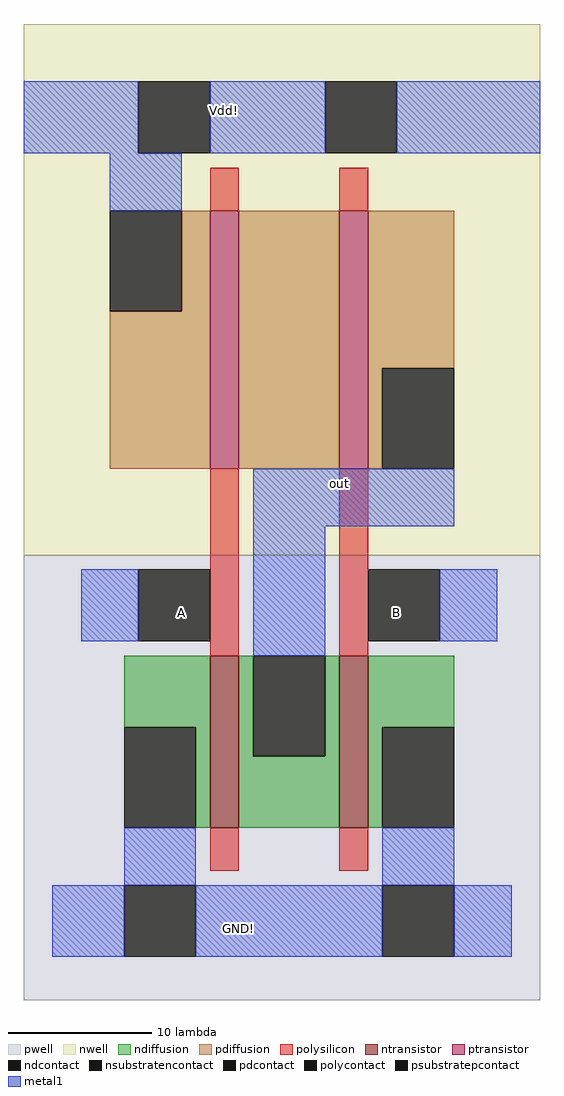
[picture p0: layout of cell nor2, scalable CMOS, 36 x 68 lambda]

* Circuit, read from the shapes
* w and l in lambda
.subckt nor2 A B GND! Vdd! out
M1 out A GND! GND! nfet w=12 l=2
M2 GND! B out GND! nfet w=12 l=2
M3 n1 A Vdd! Vdd! pfet w=18 l=2
M4 out B n1 Vdd! pfet w=18 l=2
.ends

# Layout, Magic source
magic
tech scmos
<< nwell >>
rect -4 29 32 66
<< pwell >>
rect -4 -2 32 29
<< ntransistor >>
rect 9 10 11 22
rect 18 10 20 22
<< ptransistor >>
rect 9 35 11 53
rect 18 35 20 53
<< ndiffusion >>
rect 3 17 9 22
rect 8 10 9 17
rect 11 15 12 22
rect 17 15 18 22
rect 11 10 18 15
rect 20 17 26 22
rect 20 10 21 17
<< pdiffusion >>
rect 7 46 9 53
rect 2 35 9 46
rect 11 35 18 53
rect 20 42 26 53
rect 20 35 21 42
<< ndcontact >>
rect 3 10 8 17
rect 12 15 17 22
rect 21 10 26 17
<< pdcontact >>
rect 2 46 7 53
rect 21 35 26 42
<< psubstratepcontact >>
rect 3 1 8 6
rect 21 1 26 6
<< nsubstratencontact >>
rect 4 57 9 62
rect 17 57 22 62
<< polysilicon >>
rect 9 53 11 56
rect 18 53 20 56
rect 9 22 11 35
rect 18 22 20 35
rect 9 7 11 10
rect 18 7 20 10
<< polycontact >>
rect 4 23 9 28
rect 20 23 25 28
<< metal1 >>
rect -4 57 4 62
rect 9 57 17 62
rect 22 57 32 62
rect 2 53 7 57
rect 12 31 26 35
rect 0 23 4 28
rect 12 22 17 31
rect 25 23 29 28
rect 3 6 8 10
rect 21 6 26 10
rect -2 1 3 6
rect 8 1 21 6
rect 26 1 30 6
<< labels >>
rlabel metal1 11 3 11 3 1 GND!
rlabel nwell 10 60 10 60 5 Vdd!
rlabel metal1 18 34 18 34 1 out
rlabel polycontact 22 25 22 25 1 B
rlabel polycontact 7 25 7 25 1 A
<< end >>
